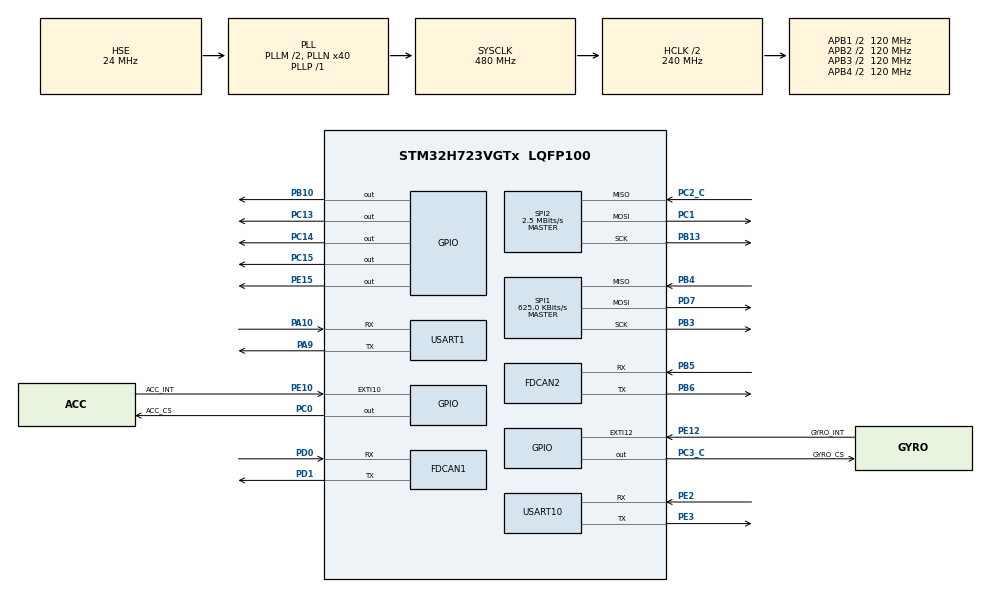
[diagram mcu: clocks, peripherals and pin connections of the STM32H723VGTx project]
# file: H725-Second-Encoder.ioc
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Dma.Request0=SPI2_RX
Dma.Request1=SPI2_TX
Dma.SPI2_RX.0.Direction=DMA_PERIPH_TO_MEMORY
Dma.SPI2_RX.0.EventEnable=DISABLE
Dma.SPI2_RX.0.FIFOMode=DMA_FIFOMODE_DISABLE
Dma.SPI2_RX.0.Instance=DMA1_Stream0
Dma.SPI2_RX.0.MemDataAlignment=DMA_MDATAALIGN_BYTE
Dma.SPI2_RX.0.MemInc=DMA_MINC_ENABLE
Dma.SPI2_RX.0.Mode=DMA_NORMAL
Dma.SPI2_RX.0.PeriphDataAlignment=DMA_PDATAALIGN_BYTE
Dma.SPI2_RX.0.PeriphInc=DMA_PINC_DISABLE
Dma.SPI2_RX.0.Polarity=HAL_DMAMUX_REQ_GEN_RISING
Dma.SPI2_RX.0.Priority=DMA_PRIORITY_VERY_HIGH
Dma.SPI2_RX.0.RequestNumber=1
Dma.SPI2_RX.0.SignalID=NONE
Dma.SPI2_RX.0.SyncEnable=DISABLE
Dma.SPI2_RX.0.SyncPolarity=HAL_DMAMUX_SYNC_NO_EVENT
Dma.SPI2_RX.0.SyncRequestNumber=1
Dma.SPI2_RX.0.SyncSignalID=NONE
Dma.SPI2_TX.1.Direction=DMA_MEMORY_TO_PERIPH
Dma.SPI2_TX.1.EventEnable=DISABLE
Dma.SPI2_TX.1.FIFOMode=DMA_FIFOMODE_DISABLE
Dma.SPI2_TX.1.Instance=DMA1_Stream1
Dma.SPI2_TX.1.MemDataAlignment=DMA_MDATAALIGN_BYTE
Dma.SPI2_TX.1.MemInc=DMA_MINC_ENABLE
Dma.SPI2_TX.1.Mode=DMA_NORMAL
Dma.SPI2_TX.1.PeriphDataAlignment=DMA_PDATAALIGN_BYTE
Dma.SPI2_TX.1.PeriphInc=DMA_PINC_DISABLE
Dma.SPI2_TX.1.Polarity=HAL_DMAMUX_REQ_GEN_RISING
Dma.SPI2_TX.1.Priority=DMA_PRIORITY_HIGH
Dma.SPI2_TX.1.RequestNumber=1
Dma.SPI2_TX.1.SignalID=NONE
Dma.SPI2_TX.1.SyncEnable=DISABLE
Dma.SPI2_TX.1.SyncPolarity=HAL_DMAMUX_SYNC_NO_EVENT
Dma.SPI2_TX.1.SyncRequestNumber=1
Dma.SPI2_TX.1.SyncSignalID=NONE
FDCAN1.AutoRetransmission=ENABLE
FDCAN1.CalculateBaudRateNominal=1000000
FDCAN1.CalculateTimeBitNominal=1000
FDCAN1.CalculateTimeQuantumNominal=12.5
FDCAN1.DataSyncJumpWidth=2
FDCAN1.DataTimeSeg1=13
FDCAN1.DataTimeSeg2=2
FDCAN1.ExtFiltersNbr=4
FDCAN1.Mode=FDCAN_MODE_NORMAL
FDCAN1.NominalPrescaler=1
FDCAN1.NominalSyncJumpWidth=20
FDCAN1.NominalTimeSeg1=59
FDCAN1.NominalTimeSeg2=20
FDCAN1.ProtocolException=ENABLE
FDCAN1.RxBuffersNbr=2
FDCAN1.RxFifo0ElmtsNbr=8
FDCAN1.RxFifo1ElmtsNbr=8
FDCAN1.StdFiltersNbr=4
FDCAN1.TxBuffersNbr=8
FDCAN1.TxEventsNbr=8
FDCAN1.TxFifoQueueElmtsNbr=8
FDCAN2.AutoRetransmission=ENABLE
FDCAN2.CalculateBaudRateNominal=1000000
FDCAN2.CalculateTimeBitNominal=1000
FDCAN2.CalculateTimeQuantumNominal=12.5
FDCAN2.DataSyncJumpWidth=2
FDCAN2.DataTimeSeg1=13
FDCAN2.DataTimeSeg2=2
FDCAN2.ExtFiltersNbr=4
FDCAN2.NominalPrescaler=1
FDCAN2.NominalSyncJumpWidth=20
FDCAN2.NominalTimeSeg1=59
FDCAN2.NominalTimeSeg2=20
FDCAN2.ProtocolException=ENABLE
FDCAN2.RxBuffersNbr=2
FDCAN2.RxFifo0ElmtsNbr=8
FDCAN2.RxFifo1ElmtsNbr=8
FDCAN2.StdFiltersNbr=4
FDCAN2.TxBuffersNbr=8
FDCAN2.TxEventsNbr=8
FDCAN2.TxFifoQueueElmtsNbr=8
Mcu.Family=STM32H7
Mcu.Name=STM32H723VGTx
Mcu.Package=LQFP100
NVIC.DMA1_Stream0_IRQn=true\:1\:0\:true\:false\:true\:false\:true\:true
NVIC.DMA1_Stream1_IRQn=true\:2\:0\:true\:false\:true\:false\:true\:true
NVIC.FDCAN1_IT0_IRQn=true\:0\:0\:false\:false\:true\:true\:true\:true
NVIC.FDCAN1_IT1_IRQn=true\:0\:0\:false\:false\:true\:true\:true\:true
NVIC.PriorityGroup=NVIC_PRIORITYGROUP_4
NVIC.SPI2_IRQn=true\:5\:0\:true\:false\:true\:false\:true\:true
NVIC.TIM2_IRQn=true\:0\:0\:false\:false\:true\:true\:true\:true
NVIC.USART10_IRQn=true\:0\:0\:false\:false\:true\:true\:true\:true
PA10.Mode=Asynchronous
PA10.Signal=USART1_RX
PA13(JTMS/SWDIO).Mode=Serial_Wire
PA13(JTMS/SWDIO).Signal=DEBUG_JTMS-SWDIO
PA14(JTCK/SWCLK).Mode=Serial_Wire
PA14(JTCK/SWCLK).Signal=DEBUG_JTCK-SWCLK
PA9.Mode=Asynchronous
PA9.Signal=USART1_TX
PB10.GPIO_Speed=GPIO_SPEED_FREQ_VERY_HIGH
PB10.Signal=GPIO_Output
PB13.GPIO_Speed=GPIO_SPEED_FREQ_VERY_HIGH
PB13.Mode=Full_Duplex_Master
PB13.Signal=SPI2_SCK
PB3(JTDO/TRACESWO).GPIO_Speed=GPIO_SPEED_FREQ_VERY_HIGH
PB3(JTDO/TRACESWO).Mode=Full_Duplex_Master
PB3(JTDO/TRACESWO).Signal=SPI1_SCK
PB4(NJTRST).GPIO_Speed=GPIO_SPEED_FREQ_VERY_HIGH
PB4(NJTRST).Mode=Full_Duplex_Master
PB4(NJTRST).Signal=SPI1_MISO
PB5.Mode=FDCAN_Activate
PB5.Signal=FDCAN2_RX
PB6.Mode=FDCAN_Activate
PB6.Signal=FDCAN2_TX
PC0.GPIO_Label=ACC_CS
PC0.GPIO_Speed=GPIO_SPEED_FREQ_VERY_HIGH
PC0.PinState=GPIO_PIN_SET
PC0.Signal=GPIO_Output
PC1.GPIO_Speed=GPIO_SPEED_FREQ_VERY_HIGH
PC1.Mode=Full_Duplex_Master
PC1.Signal=SPI2_MOSI
PC13.Signal=GPIO_Output
PC14-OSC32_IN.Signal=GPIO_Output
PC15-OSC32_OUT.Signal=GPIO_Output
PC2_C.GPIO_Speed=GPIO_SPEED_FREQ_VERY_HIGH
PC2_C.Mode=Full_Duplex_Master
PC2_C.Signal=SPI2_MISO
PC3_C.GPIO_Label=GYRO_CS
PC3_C.GPIO_Speed=GPIO_SPEED_FREQ_VERY_HIGH
PC3_C.PinState=GPIO_PIN_SET
PC3_C.Signal=GPIO_Output
PD0.Mode=FDCAN_Activate
PD0.Signal=FDCAN1_RX
PD1.Mode=FDCAN_Activate
PD1.Signal=FDCAN1_TX
PD7.GPIO_Speed=GPIO_SPEED_FREQ_VERY_HIGH
PD7.Mode=Full_Duplex_Master
PD7.Signal=SPI1_MOSI
PE10.GPIO_Label=ACC_INT
PE10.Signal=GPXTI10
PE12.GPIO_Label=GYRO_INT
PE12.Signal=GPXTI12
PE15.GPIO_Speed=GPIO_SPEED_FREQ_VERY_HIGH
PE15.PinState=GPIO_PIN_SET
PE15.Signal=GPIO_Output
PE2.Mode=Asynchronous
PE2.Signal=USART10_RX
PE3.Mode=Asynchronous
PE3.Signal=USART10_TX
PH0-OSC_IN.Mode=HSE-External-Oscillator
PH0-OSC_IN.Signal=RCC_OSC_IN
PH1-OSC_OUT.Mode=HSE-External-Oscillator
PH1-OSC_OUT.Signal=RCC_OSC_OUT
ProjectManager.HeapSize=0x200
ProjectManager.StackSize=0x800
ProjectManager.TargetToolchain=STM32CubeIDE
RCC.ADCFreq_Value=48375000
RCC.APB1Freq_Value=120000000
RCC.APB2Freq_Value=120000000
RCC.APB3Freq_Value=120000000
RCC.APB4Freq_Value=120000000
RCC.CortexFreq_Value=480000000
RCC.D1PPRE=RCC_APB3_DIV2
RCC.D2PPRE1=RCC_APB1_DIV2
RCC.D2PPRE2=RCC_APB2_DIV2
RCC.D3PPRE=RCC_APB4_DIV2
RCC.DIVM1=2
RCC.DIVN1=40
RCC.DIVP1=1
RCC.DIVQ1=6
RCC.HCLKFreq_Value=240000000
RCC.HPRE=RCC_HCLK_DIV2
RCC.HSE_VALUE=24000000
RCC.PLL2FRACN=0
RCC.PLL3FRACN=0
RCC.PLLFRACN=0
RCC.PLLSourceVirtual=RCC_PLLSOURCE_HSE
RCC.SYSCLKFreq_VALUE=480000000
RCC.SYSCLKSource=RCC_SYSCLKSOURCE_PLLCLK
RCC.USBFreq_Value=80000000
SPI1.BaudRatePrescaler=SPI_BAUDRATEPRESCALER_128
SPI1.CLKPhase=SPI_PHASE_2EDGE
SPI1.CalculateBaudRate=625.0 KBits/s
SPI1.DataSize=SPI_DATASIZE_8BIT
SPI1.Direction=SPI_DIRECTION_2LINES
SPI1.Mode=SPI_MODE_MASTER
SPI1.VirtualType=VM_MASTER
SPI2.BaudRatePrescaler=SPI_BAUDRATEPRESCALER_32
SPI2.CLKPhase=SPI_PHASE_2EDGE
SPI2.CLKPolarity=SPI_POLARITY_HIGH
SPI2.CalculateBaudRate=2.5 MBits/s
SPI2.DataSize=SPI_DATASIZE_8BIT
SPI2.Direction=SPI_DIRECTION_2LINES
SPI2.Mode=SPI_MODE_MASTER
SPI2.VirtualType=VM_MASTER
TIM2.Period=999
TIM2.Prescaler=239
USART1.VirtualMode-Asynchronous=VM_ASYNC
USART10.VirtualMode=VM_ASYNC
VP_MEMORYMAP_VS_MEMORYMAP.Mode=CurAppReg
VP_TIM2_VS_ClockSourceINT.Mode=Internal
board=custom

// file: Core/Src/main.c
/* USER CODE BEGIN Header */
/**
  ******************************************************************************
  * @file           : main.c
  * @brief          : Main program body
  ******************************************************************************
  * @attention
  *
  * Copyright (c) 2025 STMicroelectronics.
  * All rights reserved.
  *
  * This software is licensed under terms that can be found in the LICENSE file
  * in the root directory of this software component.
  * If no LICENSE file comes with this software, it is provided AS-IS.
  *
  ******************************************************************************
  */
/* USER CODE END Header */
#include "main.h"
#include "dma.h"
#include "fdcan.h"
#include "spi.h"
#include "tim.h"
#include "usart.h"
#include "gpio.h"

/* USER CODE BEGIN Includes */
//#include "BMI088driver.h"
#include "BMI088Middleware.h"
#include <string.h>
#include <stdio.h>
#include "bsp_fdcan.h"
#include <math.h>

#include "as5047p.h"
#include "odrive_can.h"
#include "joint_mit.h"

/* USER CODE END Includes */

/* USER CODE BEGIN PD */

// ===== 1kHz loop -> 10Hz print =====
#define PRINT_DIV               100   // 1kHz/100=10Hz

#define AXIS_STATE_CLOSED_LOOP  8
#define CONTROL_MODE_TORQUE     1
#define INPUT_MODE_PASSTHROUGH  1

#define JOINT_NODE_ID_1           2
#define JOINT_NODE_ID_2           6
#define JOINT_NODE_ID_3           1

#define HOME_RAW_ABS_1   8000   // TODO: 改成你的真实值（输出轴绝对raw）
#define HOME_RAW_ABS_2   7500   // TODO: 改成你的真实值（输出轴绝对raw）
#define HOME_RAW_ABS_3   3300   // TODO: 改成你的真实值（输出轴绝对raw）
/* USER CODE END PD */

/* USER CODE BEGIN PM */
#define UNUSED(x) ((void)(x))
/* USER CODE END PM */

/* USER CODE BEGIN PV */
volatile uint32_t g_tick_1khz = 0;
volatile uint8_t  g_tick_flag = 0;
static char uart_buf[160];

// encoder #1
static AS5047P   g_enc1;
static ODriveCan g_od1;
static JointMIT  g_j1;
// encoder #2
static AS5047P   g_enc2;
static ODriveCan g_od2;
static JointMIT  g_j2;

// encoder #3
static AS5047P   g_enc3;
static ODriveCan g_od3;
static JointMIT  g_j3;
/* USER CODE END PV */

void SystemClock_Config(void);

int main(void)
{

  /* MCU Configuration--------------------------------------------------------*/

  /* Reset of all peripherals, Initializes the Flash interface and the Systick. */
  HAL_Init();

  /* Configure the system clock */
  SystemClock_Config();

  /* Initialize all configured peripherals */
  MX_GPIO_Init();
  MX_DMA_Init();
  MX_SPI2_Init();
  MX_USART1_UART_Init();
  MX_TIM2_Init();
  MX_FDCAN1_Init();
  MX_FDCAN2_Init();
  MX_USART10_UART_Init();
  MX_SPI1_Init();
  /* USER CODE BEGIN 2 */

  // 1) Power enable (如果你的板子需要)
  HAL_GPIO_WritePin(GPIOC, GPIO_PIN_14, GPIO_PIN_SET);
  HAL_GPIO_WritePin(GPIOC, GPIO_PIN_13, GPIO_PIN_SET);
  HAL_GPIO_WritePin(GPIOC, GPIO_PIN_15, GPIO_PIN_SET);
  HAL_Delay(50);

  // 2) CAN init/start
  bsp_can_init();
  HAL_Delay(200);

  // encoder

  g_enc1.hspi = &hspi1;
  g_enc1.cs_port = GPIOE;
  g_enc1.cs_pin  = GPIO_PIN_15;
  as5047p_init(&g_enc1);

  g_enc2.hspi = &hspi1;
  g_enc2.cs_port = GPIOB;
  g_enc2.cs_pin  = GPIO_PIN_10;
  as5047p_init(&g_enc2);

  g_enc3.hspi = &hspi1;
  g_enc3.cs_port = GPIOB;
  g_enc3.cs_pin  = GPIO_PIN_11;
  as5047p_init(&g_enc3);

  // odrive
  g_od1.hcan = &hfdcan1;
  g_od1.node_id = JOINT_NODE_ID_1;

  g_od2.hcan = &hfdcan1;
  g_od2.node_id = JOINT_NODE_ID_2;

  g_od3.hcan = &hfdcan1;
  g_od3.node_id = JOINT_NODE_ID_3;
  // joint
  joint_mit_init(&g_j1);
  joint_mit_init(&g_j2);
  joint_mit_init(&g_j3);
  /* 你的实际参数 */
  joint_mit_config_raw(&g_j1, 3000, 10000, 1.0f); // 10:1 gear
  joint_mit_config_raw(&g_j2, 5000, 10000, 1.0f);
  joint_mit_config_raw(&g_j3, 2500, 4000, 1.0f);

  g_j1.kp = 0.45f;        // 齿隙系统：kp 不要大
  g_j1.kd = 0.025f;
  g_j1.tau_max = 0.8f;

  g_j1.q_db        = 0.015f; // 1 deg
  g_j1.q_hold_band = 0.020f;
  g_j1.qd_alpha    = 0.05f;
  g_j1.tau_rate_limit = 10.0f;

  g_j1.torque_sign = -1; // 如果方向反

  g_j2.kp = 0.35f;
  g_j2.kd = 0.025f;
  g_j2.tau_max = 0.8f;

  g_j2.q_db = 0.015f;
  g_j2.q_hold_band = 0.020f;
  g_j2.qd_alpha = 0.05f;
  g_j2.tau_rate_limit = 10.0f;

  g_j2.torque_sign = -1;   // 方向需要单独确认

  g_j3.kp = 0.45f;
  g_j3.kd = 0.025f;
  g_j3.tau_max = 0.8f;

  g_j3.q_db = 0.015f;
  g_j3.q_hold_band = 0.020f;
  g_j3.qd_alpha = 0.05f;
  g_j3.tau_rate_limit = 10.0f;

  g_j3.torque_sign = -1;   // 方向需要单独确认
  // ODrive state
  odrive_can_clear_errors(&g_od1);
  odrive_can_clear_errors(&g_od2);
  odrive_can_clear_errors(&g_od3);
  HAL_Delay(20);

  odrive_can_set_axis_state(&g_od1, AXIS_STATE_CLOSED_LOOP);
  odrive_can_set_axis_state(&g_od2, AXIS_STATE_CLOSED_LOOP);
  odrive_can_set_axis_state(&g_od3, AXIS_STATE_CLOSED_LOOP);
  HAL_Delay(100);

  odrive_can_set_controller_mode(&g_od1, CONTROL_MODE_TORQUE, INPUT_MODE_PASSTHROUGH);
  odrive_can_set_controller_mode(&g_od2, CONTROL_MODE_TORQUE, INPUT_MODE_PASSTHROUGH);
  odrive_can_set_controller_mode(&g_od3, CONTROL_MODE_TORQUE, INPUT_MODE_PASSTHROUGH);
  HAL_Delay(100);

  // zero
  uint8_t e1 = 0;
  uint16_t raw1 = as5047p_read_angle_raw14(&g_enc1, &e1);
  uint8_t e2 = 0;
  uint16_t raw2 = as5047p_read_angle_raw14(&g_enc2, &e2);
  uint8_t e3 = 0;
  uint16_t raw3 = as5047p_read_angle_raw14(&g_enc3, &e3);

  if (e1 == 0) joint_mit_zero_here(&g_j1, HOME_RAW_ABS_1);
  else HAL_UART_Transmit(&huart1, (uint8_t*)"[WARN] enc1 zero failed\r\n", 25, 50);

  if (e2 == 0) joint_mit_zero_here(&g_j2, HOME_RAW_ABS_2);
  else HAL_UART_Transmit(&huart1, (uint8_t*)"[WARN] enc2 zero failed\r\n", 25, 50);

  if (e3 == 0) joint_mit_zero_here(&g_j3, HOME_RAW_ABS_3);
  else HAL_UART_Transmit(&huart1, (uint8_t*)"[WARN] enc2 zero failed\r\n", 25, 50);

  // 5) start 1kHz tick
  HAL_TIM_Base_Start_IT(&htim2);

  const char *boot = "\r\n[H725] Joint1 MIT: AS5047P + MiniODrive torque @1kHz\r\n";
  HAL_UART_Transmit(&huart1, (uint8_t*)boot, (uint16_t)strlen(boot), 100);

  /* USER CODE END 2 */

  /* Infinite loop */
  /* USER CODE BEGIN WHILE */
  uint32_t last_tick = 0;
  uint32_t print_ctr = 0;

  while (1)
  {
      if (!g_tick_flag) continue;
      g_tick_flag = 0;

      if (g_tick_1khz == last_tick) continue;
      last_tick = g_tick_1khz;

      uint8_t e1 = 0;
      uint16_t raw1 = as5047p_read_angle_raw14(&g_enc1, &e1);
      uint8_t e2 = 0;
      uint16_t raw2 = as5047p_read_angle_raw14(&g_enc2, &e2);
      uint8_t e3 = 0;
      uint16_t raw3 = as5047p_read_angle_raw14(&g_enc3, &e3);

      if (e1 == 0 && g_j1.zero_valid) {
          joint_mit_step_1khz(&g_j1, (int32_t)raw1);
          odrive_can_set_input_torque(&g_od1, g_j1.tau);
      } else {
          odrive_can_set_input_torque(&g_od1, 0.0f);
      }

      if (e2 == 0 && g_j2.zero_valid) {
          joint_mit_step_1khz(&g_j2, (int32_t)raw2);
          odrive_can_set_input_torque(&g_od2, g_j2.tau);
      } else {
          odrive_can_set_input_torque(&g_od2, 0.0f);
      }

      if (e3 == 0 && g_j3.zero_valid) {
          joint_mit_step_1khz(&g_j3, (int32_t)raw3);
          odrive_can_set_input_torque(&g_od3, g_j3.tau);
      } else {
          odrive_can_set_input_torque(&g_od3, 0.0f);
      }

      if (++print_ctr >= PRINT_DIV) {
          print_ctr = 0;
          int n = snprintf(uart_buf, sizeof(uart_buf),
              "[t=%lu] raw1=%u raw2=%u raw3=%u q=%ldmrad qd=%ldmrad/s tau=%ldmNm err=%u\r\n",
              (unsigned long)g_tick_1khz,
              (unsigned)raw1,
		      (unsigned)raw2,
			  (unsigned)raw3,
              (long)(g_j1.q * 1000.0f),
              (long)(g_j1.qd * 1000.0f),
              (long)(g_j1.tau * 1000.0f),
              (unsigned)e1);

          HAL_UART_Transmit(&huart1, (uint8_t*)uart_buf, (uint16_t)n, 100);
      }
  }

    /* USER CODE END WHILE */

}

void SystemClock_Config(void)
{
  RCC_OscInitTypeDef RCC_OscInitStruct = {0};
  RCC_ClkInitTypeDef RCC_ClkInitStruct = {0};

  /** Supply configuration update enable
  */
  HAL_PWREx_ConfigSupply(PWR_LDO_SUPPLY);

  /** Configure the main internal regulator output voltage
  */
  __HAL_PWR_VOLTAGESCALING_CONFIG(PWR_REGULATOR_VOLTAGE_SCALE0);

  while(!__HAL_PWR_GET_FLAG(PWR_FLAG_VOSRDY)) {}

  /** Initializes the RCC Oscillators according to the specified parameters
  * in the RCC_OscInitTypeDef structure.
  */
  RCC_OscInitStruct.OscillatorType = RCC_OSCILLATORTYPE_HSE;
  RCC_OscInitStruct.HSEState = RCC_HSE_ON;
  RCC_OscInitStruct.PLL.PLLState = RCC_PLL_ON;
  RCC_OscInitStruct.PLL.PLLSource = RCC_PLLSOURCE_HSE;
  RCC_OscInitStruct.PLL.PLLM = 2;
  RCC_OscInitStruct.PLL.PLLN = 40;
  RCC_OscInitStruct.PLL.PLLP = 1;
  RCC_OscInitStruct.PLL.PLLQ = 6;
  RCC_OscInitStruct.PLL.PLLR = 2;
  RCC_OscInitStruct.PLL.PLLRGE = RCC_PLL1VCIRANGE_3;
  RCC_OscInitStruct.PLL.PLLVCOSEL = RCC_PLL1VCOWIDE;
  RCC_OscInitStruct.PLL.PLLFRACN = 0;
  if (HAL_RCC_OscConfig(&RCC_OscInitStruct) != HAL_OK)
  {
    Error_Handler();
  }

  /** Initializes the CPU, AHB and APB buses clocks
  */
  RCC_ClkInitStruct.ClockType = RCC_CLOCKTYPE_HCLK|RCC_CLOCKTYPE_SYSCLK
                              |RCC_CLOCKTYPE_PCLK1|RCC_CLOCKTYPE_PCLK2
                              |RCC_CLOCKTYPE_D3PCLK1|RCC_CLOCKTYPE_D1PCLK1;
  RCC_ClkInitStruct.SYSCLKSource = RCC_SYSCLKSOURCE_PLLCLK;
  RCC_ClkInitStruct.SYSCLKDivider = RCC_SYSCLK_DIV1;
  RCC_ClkInitStruct.AHBCLKDivider = RCC_HCLK_DIV2;
  RCC_ClkInitStruct.APB3CLKDivider = RCC_APB3_DIV2;
  RCC_ClkInitStruct.APB1CLKDivider = RCC_APB1_DIV2;
  RCC_ClkInitStruct.APB2CLKDivider = RCC_APB2_DIV2;
  RCC_ClkInitStruct.APB4CLKDivider = RCC_APB4_DIV2;

  if (HAL_RCC_ClockConfig(&RCC_ClkInitStruct, FLASH_LATENCY_3) != HAL_OK)
  {
    Error_Handler();
  }
}

/* USER CODE BEGIN 4 */
void HAL_TIM_PeriodElapsedCallback(TIM_HandleTypeDef *htim)
{
  if (htim->Instance == TIM2) {
	g_tick_1khz++;
	g_tick_flag = 1;
  }
}

/* USER CODE END 4 */

void Error_Handler(void)
{
  __disable_irq();
  while (1)
  {
  }
}
